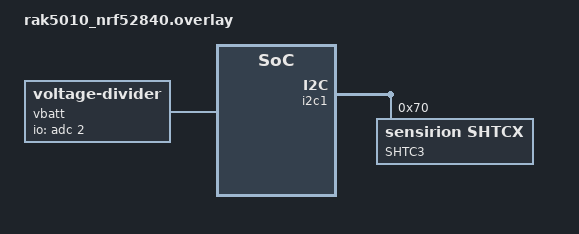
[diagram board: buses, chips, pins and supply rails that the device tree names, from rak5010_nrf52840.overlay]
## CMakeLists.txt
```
# Find Zephyr. This also loads Zephyr's build system.
cmake_minimum_required(VERSION 3.13.1)
find_package(Zephyr)
project(poc_geocan_nrf52840)

# Add your source file to the "app" target. This must come after
# find_package(Zephyr) which defines the target.
FILE(GLOB app_sources src/*.c)
target_sources(app PRIVATE ${app_sources})
target_include_directories(app PRIVATE $ENV{ZEPHYR_BASE}/include/drivers/)
```

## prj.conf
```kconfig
CONFIG_GPIO=y
CONFIG_UART_CONSOLE=n
CONFIG_SERIAL=y
CONFIG_RTT_CONSOLE=y
CONFIG_I2C=y
CONFIG_SENSOR=y
CONFIG_SHTCX=y
CONFIG_ADC=y
CONFIG_UART_ASYNC_API=y
CONFIG_RING_BUFFER=y
CONFIG_POSIX_API=y
CONFIG_MAIN_STACK_SIZE=4096
```

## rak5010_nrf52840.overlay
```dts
&i2c1 {
	shtc3: shtc3@70 {
		compatible = "sensirion,shtcx";
		label = "SHTC3";
		reg = <0x70>;
		chip = "shtc3";
		measure-mode = "normal";
	};
};

&uart0 {
	/delete-property/ rts-pin;
	/delete-property/ cts-pin;
};

&quectel_bg9x {
	status = "disabled";
};

/ {
	aliases {
		shtc3 = &shtc3;
	};

	vbatt {
		compatible = "voltage-divider";
		io-channels = <&adc 2>;
		output-ohms = <300000>;
		full-ohms = <(1200000 + 300000)>;
	};
};
```

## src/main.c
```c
#include "main.h"

static bool init() {
	if (init_board_sensors() == false) {
		printk("Failed sensor initialization, stopping...\n");
		return false;
	}

	if (init_bg96() == false) {
		printk("Failed BG96 initialization, stopping...\n");
		return false;
	}

	return true;
}

void main(void)
{
	if (!init()) {
		return;
	}
	printk("Devices initialized!\n");

	int ret;
	int batt_lvl;
	int altitude;
	char imei[IMEI_SIZE + 1];
	char temp[TEMP_SENSOR_BUFF_LEN];
	char ur[TEMP_SENSOR_BUFF_LEN];
	char latitude[LATITUDE_LEN];
	char longitude[LONGITUDE_LEN];

	altitude = 0;
	memset(temp, 0, TEMP_SENSOR_BUFF_LEN);
	memset(ur, 0, TEMP_SENSOR_BUFF_LEN);
	memset(latitude, 0, LATITUDE_LEN);
	memset(longitude, 0, LONGITUDE_LEN);

	// TODO: Do something with this info
	ret = get_imei(imei, IMEI_SIZE);
	// TODO: Do something with this info
	ret = shtc3_sensor_read(temp, ur, TEMP_SENSOR_BUFF_LEN, TEMP_SENSOR_BUFF_LEN);
	batt_lvl = get_batt_reading();

	/* turn_on_gps(); */
	/* for (int i=0; i<6; i++) { */
	/* 	k_msleep(10000); */
	/* 	determine_position(latitude, LATITUDE_LEN, longitude, LONGITUDE_LEN, &altitude); */
	/* } */
	/* turn_off_gps(); */

	char buffer[PAYLOAD_MAX_SIZE];
	set_payload(imei, batt_lvl, temp, ur, latitude, longitude, buffer, PAYLOAD_MAX_SIZE);
	printk("-----------PAYLOAD--------------\n");
	printk("%s\n", buffer);
	printk("-----------PAYLOAD--------------\n");

	ret = server_connect();
	if (ret) {
		printk("Connected\n");
		send_payload(buffer, strlen(buffer));
	} else {
		printk("Not connected\n");
	}
	/* free(buffer); */

	printk("Exiting main\n");
}
```

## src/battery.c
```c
/*
 * Copyright (c) 2018-2019 Peter Bigot Consulting, LLC
 * Copyright (c) 2019-2020 Nordic Semiconductor ASA
 *
 * SPDX-License-Identifier: Apache-2.0
 */

#include <math.h>
#include <stdio.h>
#include <stdlib.h>

#include <zephyr.h>
#include <init.h>
#include <drivers/gpio.h>
#include <drivers/adc.h>
#include <drivers/sensor.h>
#include <logging/log.h>

#include "battery.h"

LOG_MODULE_REGISTER(BATTERY, CONFIG_ADC_LOG_LEVEL);

#define VBATT DT_PATH(vbatt)

#ifdef CONFIG_BOARD_THINGY52_NRF52832
/* This board uses a divider that reduces max voltage to
 * reference voltage (600 mV).
 */
#define BATTERY_ADC_GAIN ADC_GAIN_1
#else
/* Other boards may use dividers that only reduce battery voltage to
 * the maximum supported by the hardware (3.6 V)
 */
#define BATTERY_ADC_GAIN ADC_GAIN_1_6
#endif

struct io_channel_config {
	uint8_t channel;
};

struct gpio_channel_config {
	const char *label;
	uint8_t pin;
	uint8_t flags;
};

struct divider_config {
	struct io_channel_config io_channel;
	struct gpio_channel_config power_gpios;
	/* output_ohm is used as a flag value: if it is nonzero then
	 * the battery is measured through a voltage divider;
	 * otherwise it is assumed to be directly connected to Vdd.
	 */
	uint32_t output_ohm;
	uint32_t full_ohm;
};

static const struct divider_config divider_config = {
#if DT_NODE_HAS_STATUS(VBATT, okay)
	.io_channel = {
		DT_IO_CHANNELS_INPUT(VBATT),
	},
#if DT_NODE_HAS_PROP(VBATT, power_gpios)
	.power_gpios = {
		DT_GPIO_LABEL(VBATT, power_gpios),
		DT_GPIO_PIN(VBATT, power_gpios),
		DT_GPIO_FLAGS(VBATT, power_gpios),
	},
#endif
	.output_ohm = DT_PROP(VBATT, output_ohms),
	.full_ohm = DT_PROP(VBATT, full_ohms),
#else /* /vbatt exists */
	.io_channel = {
		DT_LABEL(DT_NODELABEL(adc)),
	},
#endif /* /vbatt exists */
};

struct divider_data {
	const struct device *adc;
	const struct device *gpio;
	struct adc_channel_cfg adc_cfg;
	struct adc_sequence adc_seq;
	int16_t raw;
};
static struct divider_data divider_data = {
	.adc = DEVICE_DT_GET(DT_IO_CHANNELS_CTLR(VBATT)),
};

static int divider_setup(void)
{
	const struct divider_config *cfg = &divider_config;
	const struct io_channel_config *iocp = &cfg->io_channel;
	const struct gpio_channel_config *gcp = &cfg->power_gpios;
	struct divider_data *ddp = &divider_data;
	struct adc_sequence *asp = &ddp->adc_seq;
	struct adc_channel_cfg *accp = &ddp->adc_cfg;
	int rc;

	if (!device_is_ready(ddp->adc)) {
		LOG_ERR("ADC device is not ready %s", ddp->adc->name);
		return -ENOENT;
	}

	if (gcp->label) {
		ddp->gpio = device_get_binding(gcp->label);
		if (ddp->gpio == NULL) {
			LOG_ERR("Failed to get GPIO %s", gcp->label);
			return -ENOENT;
		}
		rc = gpio_pin_configure(ddp->gpio, gcp->pin,
					GPIO_OUTPUT_INACTIVE | gcp->flags);
		if (rc != 0) {
			LOG_ERR("Failed to control feed %s.%u: %d",
				gcp->label, gcp->pin, rc);
			return rc;
		}
	}

	*asp = (struct adc_sequence){
		.channels = BIT(0),
		.buffer = &ddp->raw,
		.buffer_size = sizeof(ddp->raw),
		.oversampling = 4,
		.calibrate = true,
	};

#ifdef CONFIG_ADC_NRFX_SAADC
	*accp = (struct adc_channel_cfg){
		.gain = BATTERY_ADC_GAIN,
		.reference = ADC_REF_INTERNAL,
		.acquisition_time = ADC_ACQ_TIME(ADC_ACQ_TIME_MICROSECONDS, 40),
	};

	if (cfg->output_ohm != 0) {
		accp->input_positive = SAADC_CH_PSELP_PSELP_AnalogInput0
			+ iocp->channel;
	} else {
		accp->input_positive = SAADC_CH_PSELP_PSELP_VDD;
	}

	asp->resolution = 14;
#else /* CONFIG_ADC_var */
#error Unsupported ADC
#endif /* CONFIG_ADC_var */

	rc = adc_channel_setup(ddp->adc, accp);
	LOG_INF("Setup AIN%u got %d", iocp->channel, rc);

	return rc;
}

static bool battery_ok;

static int battery_setup(const struct device *arg)
{
	int rc = divider_setup();

	battery_ok = (rc == 0);
	LOG_INF("Battery setup: %d %d", rc, battery_ok);
	return rc;
}

SYS_INIT(battery_setup, APPLICATION, CONFIG_APPLICATION_INIT_PRIORITY);

int battery_measure_enable(bool enable)
{
	int rc = -ENOENT;

	if (battery_ok) {
		const struct divider_data *ddp = &divider_data;
		const struct gpio_channel_config *gcp = &divider_config.power_gpios;

		rc = 0;
		if (ddp->gpio) {
			rc = gpio_pin_set(ddp->gpio, gcp->pin, enable);
		}
	}
	return rc;
}

int battery_sample(void)
{
	int rc = -ENOENT;

	if (battery_ok) {
		struct divider_data *ddp = &divider_data;
		const struct divider_config *dcp = &divider_config;
		struct adc_sequence *sp = &ddp->adc_seq;

		rc = adc_read(ddp->adc, sp);
		sp->calibrate = false;
		if (rc == 0) {
			int32_t val = ddp->raw;

			adc_raw_to_millivolts(adc_ref_internal(ddp->adc),
					      ddp->adc_cfg.gain,
					      sp->resolution,
					      &val);

			if (dcp->output_ohm != 0) {
				rc = val * (uint64_t)dcp->full_ohm
					/ dcp->output_ohm;
				LOG_INF("raw %u ~ %u mV => %d mV\n",
					ddp->raw, val, rc);
			} else {
				rc = val;
				LOG_INF("raw %u ~ %u mV\n", ddp->raw, val);
			}
		}
	}

	return rc;
}

unsigned int battery_level_pptt(unsigned int batt_mV,
				const struct battery_level_point *curve)
{
	const struct battery_level_point *pb = curve;

	if (batt_mV >= pb->lvl_mV) {
		/* Measured voltage above highest point, cap at maximum. */
		return pb->lvl_pptt;
	}
	/* Go down to the last point at or below the measured voltage. */
	while ((pb->lvl_pptt > 0)
	       && (batt_mV < pb->lvl_mV)) {
		++pb;
	}
	if (batt_mV < pb->lvl_mV) {
		/* Below lowest point, cap at minimum */
		return pb->lvl_pptt;
	}

	/* Linear interpolation between below and above points. */
	const struct battery_level_point *pa = pb - 1;

	return pb->lvl_pptt
	       + ((pa->lvl_pptt - pb->lvl_pptt)
		  * (batt_mV - pb->lvl_mV)
		  / (pa->lvl_mV - pb->lvl_mV));
}
```

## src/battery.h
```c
/*
 * Copyright (c) 2018-2019 Peter Bigot Consulting, LLC
 *
 * SPDX-License-Identifier: Apache-2.0
 */

#ifndef APPLICATION_BATTERY_H_
#define APPLICATION_BATTERY_H_

/** Enable or disable measurement of the battery voltage.
 *
 * @param enable true to enable, false to disable
 *
 * @return zero on success, or a negative error code.
 */
int battery_measure_enable(bool enable);

/** Measure the battery voltage.
 *
 * @return the battery voltage in millivolts, or a negative error
 * code.
 */
int battery_sample(void);

/** A point in a battery discharge curve sequence.
 *
 * A discharge curve is defined as a sequence of these points, where
 * the first point has #lvl_pptt set to 10000 and the last point has
 * #lvl_pptt set to zero.  Both #lvl_pptt and #lvl_mV should be
 * monotonic decreasing within the sequence.
 */
struct battery_level_point {
	/** Remaining life at #lvl_mV. */
	uint16_t lvl_pptt;

	/** Battery voltage at #lvl_pptt remaining life. */
	uint16_t lvl_mV;
};

/** Calculate the estimated battery level based on a measured voltage.
 *
 * @param batt_mV a measured battery voltage level.
 *
 * @param curve the discharge curve for the type of battery installed
 * on the system.
 *
 * @return the estimated remaining capacity in parts per ten
 * thousand.
 */
unsigned int battery_level_pptt(unsigned int batt_mV,
				const struct battery_level_point *curve);

#endif /* APPLICATION_BATTERY_H_ */
```

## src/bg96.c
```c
#include "bg96.h"

/* Statics */
static pthread_mutex_t uart_mutex;
static pthread_cond_t uart_cond;
static const struct device *uart_dev;
static const struct device *gpio0_dev;
static const struct device *gpio1_dev;
static uint8_t recv_buffer[RECV_BUFFER_SIZE];
static uint8_t bg96_resp[BG96_AT_RSP_MAX_LEN];
static uint32_t bg96_resp_len = 0;
static bool timed_out;

//OK
static void uart_callback(const struct device *uart_dev, struct uart_event *evt, void *data) {
	int ret;

	ret = pthread_mutex_lock(&uart_mutex);
	if (ret) {
		printk("Error locking mutex, %d\n", ret);
	}

	switch (evt->type) {
		case UART_TX_DONE:
			printk("UART_TX_DONE\n");
			break;
		case UART_TX_ABORTED:
			printk("UART_TX_ABORTED\n");
			break;
		case UART_RX_RDY:
			printk("UART_RX_RDY\n");
			memcpy(bg96_resp, &evt->data.rx.buf[evt->data.rx.offset], evt->data.rx.len);
			bg96_resp_len = evt->data.rx.len;
			printk("[UART_CALLBACK]: %s\n", bg96_resp);
			printk("signal wakeup to sleeping thread\n");
			pthread_cond_signal(&uart_cond);
			timed_out = false;
			break;
		case UART_RX_BUF_REQUEST:
			printk("UART_RX_BUF_REQUEST\n");
			break;
		case UART_RX_BUF_RELEASED:
			printk("UART_RX_BUF_RELEASED\n");
			break;
		case UART_RX_DISABLED:
			printk("UART_RX_DISABLED\n");
			break;
		case UART_RX_STOPPED:
			printk("UART_RX_STOPPED\n");
			break;
		default:
			printk("Unknown event: %d\n", evt->type);
			break;
	}

	ret = pthread_mutex_unlock(&uart_mutex);
	if (ret) {
		printk("Error unlocking mutex, %d\n", ret);
	}
}

//OK
static uint32_t send_at_command(char *cmd, uint32_t cmd_len, char *cmd_resp, size_t cmd_rsp_len) {
	if (cmd_len > BG96_AT_CMD_MAX_LEN) {
		printk("Issued command is too big\n");
		return 0;
	}

	/* Lock in order to block calling thread while waiting for the UART response */
	pthread_mutex_lock(&uart_mutex);

	int ret;
	char send_cmd[BG96_AT_CMD_MAX_LEN];
	char send_cmd_len = cmd_len + 1;

	memset(bg96_resp, 0, BG96_AT_RSP_MAX_LEN);
	memset(send_cmd, 0, BG96_AT_CMD_MAX_LEN);
	memcpy(send_cmd, cmd, cmd_len);
	send_cmd[cmd_len] = '\r';

	ret = uart_tx(uart_dev, send_cmd, send_cmd_len, 100);

	/* sleep until callback signals to wake up */
	pthread_cond_wait(&uart_cond, &uart_mutex);
	/* woke up, continuing execution */

	if (cmd_resp != NULL) {
		if (cmd_rsp_len < bg96_resp_len) {
			printk("Response buffer is too short, cap to it\n");
			bg96_resp_len = cmd_rsp_len;
		}
		memcpy(cmd_resp, bg96_resp, bg96_resp_len);
	}

	pthread_mutex_unlock(&uart_mutex);

	return bg96_resp_len;
}


//OK
static bool init_uart() {
	uart_dev = device_get_binding(DT_LABEL(UART0_NODE));
	if (uart_dev == NULL) {
		printk("UART0 not found");
		return false;
	}

	memset(recv_buffer, 0, RECV_BUFFER_SIZE);
	uart_callback_set(uart_dev, uart_callback, NULL);
	uart_rx_enable(uart_dev, recv_buffer, RECV_BUFFER_SIZE, 100);

	return true;
}

//OK
static bool init_gpio1() {
	int ret;
	gpio1_dev = device_get_binding(DT_LABEL(GPIO1_NODE));

	if (gpio1_dev == NULL) {
		printk("GPIO1 not found");
		return false;
	}

	/* 3V8 */
	ret = gpio_pin_configure(gpio1_dev, MDM_3V8_PIN, GPIO_OUTPUT_ACTIVE);
	if (ret < 0) {
		printk("Error configuring MDM_3V8_PIN: %d", ret);
		return false;
	}

	gpio_pin_set(gpio1_dev, MDM_3V8_PIN, 1);

	/* GPS */
	ret = gpio_pin_configure(gpio1_dev, GPS_EN_PIN, GPIO_OUTPUT_ACTIVE);
	if (ret < 0) {
		printk("Error configuring GPS_EN_PIN: %d", ret);
		return false;
	}

	gpio_pin_set(gpio1_dev, GPS_EN_PIN, 1);

	return true;
}

//OK
static bool init_gpio0() {
	int ret;
	gpio0_dev = device_get_binding(DT_LABEL(GPIO0_NODE));

	if (gpio0_dev == NULL) {
		printk("GPIO0 not found");
		return false;
	}

	/* power pin */
	ret = gpio_pin_configure(gpio0_dev, MDM_PWR_PIN, GPIO_OUTPUT_ACTIVE);
	if (ret < 0) {
		printk("Error configuring MDM_PWR_PIN: %d", ret);
		return false;
	}

	gpio_pin_set(gpio0_dev, MDM_PWR_PIN, 0);
	k_msleep(60);
	gpio_pin_set(gpio0_dev, MDM_PWR_PIN, 1);
	k_msleep(300);

	return true;
}

//OK
static void setup_cat_m1() {
	send_at_command("AT+QCFG=\"nwscanseq\",01,1", strlen("AT+QCFG=\"nwscanseq\",01,1"), NULL, 0);
	send_at_command("AT+QCFG=\"nwscanmode\",0,1", strlen("AT+QCFG=\"nwscanmode\",0,1"), NULL, 0);
	send_at_command("AT+QCFG=\"iotopmode\",0,1", strlen("AT+QCFG=\"iotopmode\",0,1"), NULL, 0);
	send_at_command("AT+QCFG=\"band\",f,8000004,8000004,1", strlen("AT+QCFG=\"band\",f,8000004,8000004,1"), NULL, 0);
	send_at_command("AT+CGDCONT=1,\"IP\",\"zap.vivo.com.br\"", strlen("AT+CGDCONT=1,\"IP\",\"zap.vivo.com.br\""), NULL, 0);
	printk("==== LTE-CAT-M1 and 2G networks initialized ====\n");
}

//OK
static bool network_registration() {
	char rsp[200];

	memset(rsp, 0, 200);
	send_at_command("AT+CEREG?", strlen("AT+CEREG?"), rsp, 200);
	if (strstr(rsp, "+CEREG: 0,1") != NULL) {
		return true;
	}

	memset(rsp, 0, 200);
	send_at_command("AT+CGREG?", strlen("AT+CGREG?"), rsp, 200);
	if (strstr(rsp, "+CGREG: 0,1") != NULL) {
		return true;
	}

	return false;
}

//OK
static void init_mqtt () {
	send_at_command("AT+QMTCFG=\"version\",0,4", strlen("AT+QMTCFG=\"version\",0,4"), NULL, 0);
	send_at_command("AT+QMTCFG=\"keepalive\",0,60", strlen("AT+QMTCFG=\"keepalive\",0,60"), NULL, 0);
	send_at_command("AT+QSSLCFG=\"ignorelocaltime\",2,1", strlen("AT+QSSLCFG=\"ignorelocaltime\",2,1"), NULL, 0);
	send_at_command("AT+QSSLCFG=\"ciphersuite\",2,0xFFFF", strlen("AT+QSSLCFG=\"ciphersuite\",2,0xFFFF"), NULL, 0);
	send_at_command("AT+QMTCFG=\"SSL\",0,1,2", strlen("AT+QMTCFG=\"SSL\",0,1,2"), NULL, 0);
	send_at_command("AT+QSSLCFG=\"seclevel\",2,0", strlen("AT+QSSLCFG=\"seclevel\",2,0"), NULL, 0);
	printk("==== MQTT stack initialized ====\n\n");
}

//TODO: place this after comm closure
static void deinit_mqtt() {
	send_at_command("AT+QMTCLOSE=0", strlen("AT+QMTCLOSE=0"), NULL, 0);
}

//OK
static bool send_and_wait_response(char *cmd,
				   uint32_t len,
				   char *expected_resp,
				   char *at_cmd,
				   uint32_t timeout_sec) {
	bool ret = true;
	int cond_ret;
	struct timespec to;

	send_at_command(cmd, len, NULL, 0);

	pthread_mutex_lock(&uart_mutex);

	printk("Sleep until %s returns\n", at_cmd);
	clock_gettime(CLOCK_MONOTONIC, &to);
	to.tv_sec += timeout_sec;
	timed_out = true; // The function below is not following posix definition so this var is needed

	cond_ret = pthread_cond_timedwait(&uart_cond, &uart_mutex, &to);
	if (cond_ret == ETIMEDOUT && timed_out == true) {
		printk("Time out condition\n");
		ret = false;
		goto END;
	}

	printk("%s returned! buffer: %s\n", at_cmd, bg96_resp);
	if (strstr(bg96_resp, expected_resp) == NULL) {
		ret = false;
		goto END;
	}
END:
	pthread_mutex_unlock(&uart_mutex);

	return ret;
}

//OK
static bool mqtt_connect() {
	char open_cmd[MQTT_OPEN_CMD_LEN];
	char conn_cmd[MQTT_CONN_CMD_LEN];

	memset(open_cmd, 0, MQTT_OPEN_CMD_LEN);
	memset(conn_cmd, 0, MQTT_CONN_CMD_LEN);

	snprintk(open_cmd, MQTT_OPEN_CMD_LEN, "AT+QMTOPEN=0,\"%s\",%d", SERVER_ADDR, SERVER_PORT);
	printk("ATTEMPT TO OPEN CONNECTION\n");
	if (send_and_wait_response(open_cmd, strlen(open_cmd), "+QMTOPEN: 0,0",
				   "QMTOPEN", OPEN_CONN_TIMEOUT_S) == false) {
		return false;
	}

	printk("ATTEMPT TO CONNECT TO AZURE\n");
	snprintk(conn_cmd, MQTT_CONN_CMD_LEN, "AT+QMTCONN=0,\"%s\",\"%s/%s/?api-version=2018-06-30\",\"%s\"", DEVICE_ID, SERVER_ADDR, DEVICE_ID, SIGNATURE);
	if (send_and_wait_response(conn_cmd, strlen(conn_cmd), "+QMTCONN: 0,0,0",
				   "QMTCONN", CONN_TIMEOUT_S) == false) {
		return false;
	}

	return true;
}

//OK
void turn_on_gps() {
	printk("Enable GPS\n");
	send_at_command("AT+QGPS=1,40,50,0,1", strlen("AT+QGPS=1,40,50,0,1"), NULL, 0);
}

//OK
void turn_off_gps() {
	printk("Disable GPS\n");
	send_at_command("AT+QGPSEND", strlen("AT+QGPSEND"), NULL, 0);
}

//OK
void determine_position(char *latitude, size_t latitude_len,
			char *longitude, size_t longitude_len,
			int *altitude) {
	char *ptr;
	char position[POSITION_LEN];

	memset(position, 0, POSITION_LEN);

	printk("Determine position\n");
	send_at_command("AT+QGPSLOC=0", strlen("AT+QGPSLOC=0"), position, POSITION_LEN);

	if ((ptr = strstr(position, "CME ERROR")) != NULL) {
		printk("Not fixed\n");
		char code[4];

		memset(code, 0, 4);
		memcpy(code, &ptr[11], 3);
		altitude = 0;
		snprintk(latitude, latitude_len, "ERROR %s", code);
		snprintk(longitude, longitude_len, "ERROR %s", code);
	} else {
		printk("Fixed position\n");
		int min;
		int idx = UTC_TIME_ID;
		char *token;
		char *rest = position;
		char deg_buff[3];
		char min_buff[10];
		bool south = true;
		bool west = true;

		memset(latitude, 0, 20);
		while ((token = strtok_r(rest, ",", &rest))) {
			min = 0;
			memset(deg_buff, 0, 3);
			memset(min_buff, 0, 10);

			switch (idx) {
				case UTC_TIME_ID:
					printk("%s\n", token);
					break;
				case LATITUDE_ID:
					printk("digit: %c\n", token[9]);
					if (token[9] == 'N') {
						south = false;
					}
					memcpy(deg_buff, token, 2);
					memcpy(min_buff, &token[2], 2);
					memcpy(&min_buff[2], &token[5], 4);
					min = atoi(min_buff) / 60;
					snprintk(latitude, latitude_len, "%c%s.%d", south
						 ? '-'
						 : '\0', deg_buff, min);
					break;
				case LONGITUDE_ID:
					printk("digit: %c\n", token[10]);
					if (token[10] == 'E') {
						west = false;
					}
					memcpy(deg_buff, token, 3);
					memcpy(min_buff, &token[3], 2);
					memcpy(&min_buff[2], &token[6], 4);
					min = atoi(min_buff) / 60;
					snprintk(longitude, longitude_len, "%c%s.%d", west
						 ? '-'
						 : '\0', deg_buff, min);
					break;
				case ALTITUDE_ID:
					*altitude = atoi(token);
					printk("%s\n", token);
					break;
				default:
					break;
			}
			idx++;
		}
	}
}

//OK
bool get_imei(char *imei, size_t imei_len) {
	if (imei_len < IMEI_SIZE) {
		printk("Buffer too small to receive IMEI\n");
		return false;
	}
	char ret[30];

	memset(ret, 0, 30);
	memset(imei, 0, imei_len + 1);
	send_at_command("AT+GSN", strlen("AT+GSN"), ret, 30);
	memcpy(imei, &ret[2], IMEI_SIZE);

	return true;
}

//OK
bool init_bg96() {
	bool ret;

	pthread_mutex_init(&uart_mutex, NULL);
	pthread_cond_init(&uart_cond, NULL);

	ret = init_uart();
	if (ret == false) {
		return false;
	}

	ret = init_gpio0();
	if (ret == false) {
		return false;
	}

	ret = init_gpio1();
	if (ret == false) {
		return false;
	}
	printk("Sleeping for 10s to power up the modem...\n");
	k_msleep(10000);

	char rsp[100];
	printk("Sending ATE0 to disable echo and allow thread synchronization...\n");
	send_at_command("ATE0", 4, rsp, 100);

	printk("Sleep until the OK arrives\n");
	pthread_mutex_lock(&uart_mutex);
	/* TODO: maybe pthread_cond_timedwait is safer here */
	pthread_cond_wait(&uart_cond, &uart_mutex);
	pthread_mutex_unlock(&uart_mutex);

	return true;
}

bool server_connect() {
	bool ret;

	setup_cat_m1();

	ret = network_registration();
	if (ret == false) {
		return false;
	}

	init_mqtt();
	ret = mqtt_connect();
	/* deinit_mqtt(); */
	return ret;
}

bool send_payload(char *payload, uint32_t payload_len) {
	printk("Begin routine to send payload...\n");

	char send_cmd[BG96_AT_CMD_MAX_LEN];

	memset(send_cmd, 0, BG96_AT_CMD_MAX_LEN);
	printk("payload: %s, size: %u\n", payload, payload_len);
	memcpy(send_cmd, payload, payload_len);
	send_cmd[payload_len] = '\x1A';
	printk("send_cmd: %s\n", send_cmd);

	char cmd[] = "AT+QMTPUB=0,0,0,0,\"devices/dev0/messages/events/geoKegEvents/\"";
	send_at_command(cmd, strlen(cmd), NULL, 0);

	printk("QMTPUB returned! buffer: %s\n", bg96_resp);
	if (strstr(bg96_resp, ">") == NULL) {
		printk("Failed to send payload\n");
		return false;
	}

	printk("Send payload...\n");
	send_at_command(send_cmd, strlen(send_cmd), NULL, 0);

	printk("Sleep until QMTPUB returns\n");
	pthread_mutex_lock(&uart_mutex);
	pthread_cond_wait(&uart_cond, &uart_mutex);
	printk("QMTPUB returned! buffer: %s\n", bg96_resp);
	if (strstr(bg96_resp, "+QMTPUB: 0,0,0") == NULL) {
		pthread_mutex_unlock(&uart_mutex);
		return false;
	}
	pthread_mutex_unlock(&uart_mutex);

	return true;
}
```

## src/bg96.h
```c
#ifndef GEOCAN_BG96
#define GEOCAN_BG96

/* Includes */
#include <stdlib.h>
#include <pthread.h>
#include <drivers/gpio.h>
#include <drivers/uart.h>
#include <sys/ring_buffer.h>
#include <string.h>
#include "server.h"

/* Defines */
#define OPEN_CONN_TIMEOUT_S (75+5)
#define CONN_TIMEOUT_S (5+5)
#define SLEEP_TIME_MS   5000
#define RECV_BUFFER_SIZE 1024
#define BG96_AT_CMD_MAX_LEN 400
#define BG96_AT_RSP_MAX_LEN 400 //TODO: Maybe resize this to a bigger number
#define IMEI_SIZE 15
#define UTC_TIME_ID 0
#define LATITUDE_ID 1
#define LONGITUDE_ID 2
#define ALTITUDE_ID 4
#define LATITUDE_LEN 30
#define LONGITUDE_LEN 30
#define POSITION_LEN 150
#define MQTT_OPEN_CMD_LEN 100
#define MQTT_CONN_CMD_LEN 400

#define UART0_NODE DT_NODELABEL(uart0)

#if !DT_NODE_HAS_STATUS(UART0_NODE, okay)
#error "Unsupported board: uart0 devicetree node is not defined"
#endif

#define GPIO0_NODE DT_NODELABEL(gpio0)
#if DT_NODE_HAS_STATUS(GPIO0_NODE, okay)
#define MDM_STATUS_PIN    31
#define MDM_RST_PIN       28
#define MDM_PWR_PIN       2
#define MDM_W_DISABLE_PIN 29
#define MDM_DTR_PIN       26
#define MDM_AP_RDY_PIN    30
#define MDM_PSM_PIN       3
#else
#error "Unsupported board: gpio0 devicetree node is not defined"
#endif

#define GPIO1_NODE DT_NODELABEL(gpio1)
#if DT_NODE_HAS_STATUS(GPIO1_NODE, okay)
#define GPS_EN_PIN        7
#define MDM_3V8_PIN       9
#else
#error "Unsupported board: gpio1 devicetree node is not defined"
#endif

/* Methods */
bool init_bg96();
bool server_connect();
bool send_payload(char *payload, uint32_t payload_len);
bool get_imei(char *imei, size_t imei_len);
void turn_on_gps();
void turn_off_gps();
void determine_position(char *latitude, size_t latitude_len,
			char *longitude, size_t longitude_len,
			int *altitude);

#endif /* GEOCAN_BG96 */
```

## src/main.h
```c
#ifndef GEOCAN_MAIN
#define GEOCAN_MAIN

/* Includes */
#include "bg96.h"
#include "utils.h"
#include "battery.h"
#include "sensors.h"

/* Defines */
#define SLEEP_TIME_MS   5000

#endif /* GEOCAN_MAIN */
```

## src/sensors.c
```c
#include "sensors.h"

/* Statics */
static const struct device *led_dev;
static const struct device *shtc3_dev;

static bool init_led() {
	int ret;
	led_dev = device_get_binding(LED0);

	if (led_dev == NULL) {
		printk("LED0 not found\n");
		return false;
	}

	ret = gpio_pin_configure(led_dev, PIN, GPIO_OUTPUT_ACTIVE | FLAGS);
	if (ret < 0) {
		printk("LED0 not configured\n");
		return false;
	}
	gpio_pin_set(led_dev, PIN, 0);

	return true;
}

static bool init_shtc3() {
	shtc3_dev = device_get_binding(DT_LABEL(SHTC3_NODE));

	if (shtc3_dev == NULL) {
		printk("SHTC3 not found\n");
		return false;
	}

	return true;
}

/* Methods */
bool init_board_sensors() {
	bool ret;

	ret = init_led();
	if (ret == false) {
		return false;
	}

	ret = init_shtc3();
	if (ret == false) {
		return false;
	}

	return true;
}

bool shtc3_sensor_read(char *temp, char *ur, size_t temp_len, size_t ur_len) {
	int ret;
	struct sensor_value shtc3_sv;

	if (temp_len != TEMP_SENSOR_BUFF_LEN) {
		printk("Temperature buffer with incorrect size: %d\n", temp_len);
		return false;
	}
	if (ur_len != TEMP_SENSOR_BUFF_LEN) {
		printk("Umidity buffer with incorrect size: %d\n", temp_len);
		return false;
	}

	ret = sensor_sample_fetch(shtc3_dev);
	if (ret != 0) {
		printk("sensor_sample_fetch error: %d\n", ret);
		return false;
	}

	ret = sensor_channel_get(shtc3_dev, SENSOR_CHAN_AMBIENT_TEMP, &shtc3_sv);
	if (ret != 0) {
		printk("sensor_channel_get error: %d\n", ret);
		return false;
	}

	snprintk(temp, TEMP_SENSOR_BUFF_LEN, "%d.%d", shtc3_sv.val1, shtc3_sv.val2);

	ret = sensor_channel_get(shtc3_dev, SENSOR_CHAN_HUMIDITY, &shtc3_sv);
	if (ret != 0) {
		printk("sensor_channel_get error: %d\n", ret);
		return false;
	}

	snprintk(ur, TEMP_SENSOR_BUFF_LEN, "%d.%d", shtc3_sv.val1, shtc3_sv.val2);
	return true;
}

int get_batt_reading() {
	int batt_mv = battery_sample();
		if (batt_mv < 0) {
			printk("Failed to read battery voltage: %d\n",
			       batt_mv);
			return -1;
		}

	/* printk("Level: %d mV\n", batt_mv); */

	return batt_mv;
}
```

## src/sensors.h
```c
#ifndef GEOCAN_SENSORS
#define GEOCAN_SENSORS

/* Includes */
#include <sensor.h>
#include <device.h>
#include <drivers/gpio.h>
#include "battery.h"

/* Defines */
/* The devicetree node identifier for the "led0" alias. */
#define LED0_NODE DT_ALIAS(led0)

#if DT_NODE_HAS_STATUS(LED0_NODE, okay)
#define LED0	DT_GPIO_LABEL(LED0_NODE, gpios)
#define PIN	DT_GPIO_PIN(LED0_NODE, gpios)
#define FLAGS	DT_GPIO_FLAGS(LED0_NODE, gpios)
#else
#error "Unsupported board: led0 devicetree alias is not defined"
#define LED0	""
#define PIN	0
#define FLAGS	0
#endif

/* The devicetree node identifier for the "shtc3" alias. */
#define SHTC3_NODE DT_ALIAS(shtc3)

#if !DT_NODE_HAS_STATUS(SHTC3_NODE, okay)
#error "Unsupported board: shtc3 devicetree alias is not defined"
#endif

#define TEMP_SENSOR_BUFF_LEN 35

/* Methods */
bool init_board_sensors();
bool shtc3_sensor_read(char *temp, char *ur, size_t temp_len, size_t ur_len);
int get_batt_reading();

#endif /* GEOCAN_SENSORS */
```

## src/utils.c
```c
#include "utils.h"

void set_payload(char *imei, int vbatt, char *temp, char *ur, char *latitude, char *longitude, char *buffer, size_t len) {
	memset(buffer, 0, len);

	snprintk(buffer, len,
		 "{"
			 "\"id_sku\":\"%s\","
			 "\"id_geo_can\":\"%s\","
			 "\"lat\":\"%s\","
			 "\"long\":\"%s\","
			 "\"weight_dev\":\"%s\","
			 "\"temp_dev\":\"%s C\","
			 "\"ur_dev\":\"%s %%\","
			 "\"accel_dev\":\"%s\","
			 "\"bat_val\":\"%d mv\""
		 "}\x1A",
	"-/-", //id sku
	imei,
	latitude, //lat
	longitude, //long
	"-/-", //weight dev
	temp,
	ur,
	"-/-", //accel dev
	vbatt);
}
```

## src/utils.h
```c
#ifndef JSON_UTILS
#define JSON_UTILS

#include <device.h>
#include <stdlib.h>
#include <string.h>

/* Defines */
#define PAYLOAD_MAX_SIZE 1024

/* Methods */
void set_payload(char *imei, int vbatt, char *temp, char *ur, char *latitude, char *longitude, char *buffer, size_t len);

#endif /* JSON_UTILS */
```
